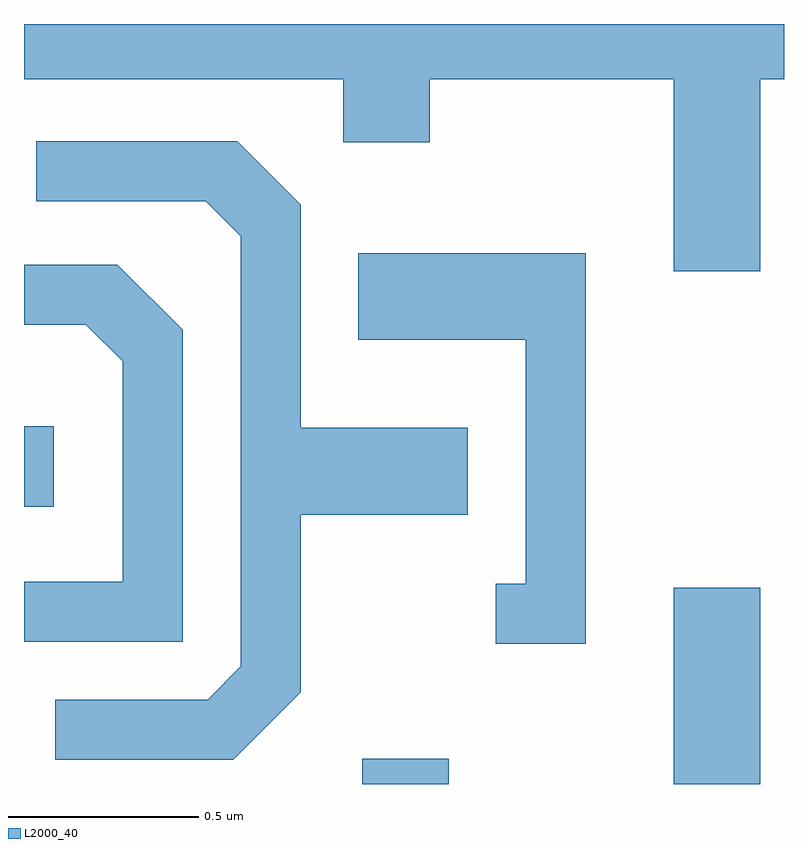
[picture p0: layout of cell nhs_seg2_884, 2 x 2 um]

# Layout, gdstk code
import gdstk
lib = gdstk.Library(unit=1e-6, precision=1e-09)
def R(c, l, rs):  # rectangles x0, y0, x1, y1
    for r in rs: c.add(gdstk.rectangle(r[:2], r[2:], *l))
def P(c, l, *ps):  # polygons
    for p in ps: c.add(gdstk.Polygon(p, *l))
L2000_40 = (2000, 40)

nhs_seg2_884 = lib.new_cell('nhs_seg2_884')
R(nhs_seg2_884, L2000_40, [(192.501,1039.802,192.729,1039.869), (193.321,1039.802,193.549,1040.319), (191.611,1040.531,191.689,1040.744)])
P(nhs_seg2_884, L2000_40, [(193.549,1041.656),(193.611,1041.656),(193.611,1041.802),(191.611,1041.802),(191.611,1041.656),(192.451,1041.656),(192.451,1041.491),(192.679,1041.491),(192.679,1041.656),(193.321,1041.656),(193.321,1041.151),(193.549,1041.151)],
  [(192.339,1040.044),(192.339,1040.511),(192.779,1040.511),(192.779,1040.739),(192.339,1040.739),(192.339,1041.327),(192.172,1041.494),(191.643,1041.494),(191.643,1041.336),(192.089,1041.336),(192.181,1041.244),(192.181,1040.112),(192.094,1040.024),(191.693,1040.024),(191.693,1039.866),(192.162,1039.866)],
  [(193.089,1041.199),(192.491,1041.199),(192.491,1040.971),(192.931,1040.971),(192.931,1040.329),(192.853,1040.329),(192.853,1040.171),(193.089,1040.171)],
  [(192.029,1040.997),(191.857,1041.169),(191.611,1041.169),(191.611,1041.011),(191.774,1041.011),(191.871,1040.914),(191.871,1040.334),(191.611,1040.334),(191.611,1040.176),(192.029,1040.176)])

lib.write_gds('nhs_seg2_884.gds')
